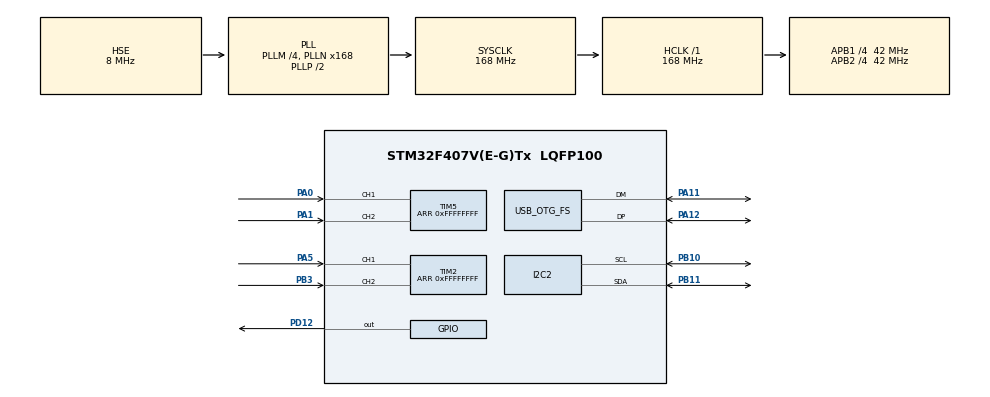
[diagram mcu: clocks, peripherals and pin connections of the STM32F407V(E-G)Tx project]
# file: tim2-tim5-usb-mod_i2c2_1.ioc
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I2C2.NoStretchMode=I2C_NOSTRETCH_ENABLE
I2C2.OwnAddress=0x4d
Mcu.Family=STM32F4
Mcu.Name=STM32F407V(E-G)Tx
Mcu.Package=LQFP100
NVIC.I2C2_ER_IRQn=true\:0\:0\:false\:false\:true\:true\:true
NVIC.I2C2_EV_IRQn=true\:0\:0\:false\:false\:true\:true\:true
NVIC.OTG_FS_IRQn=true\:0\:0\:false\:false\:true\:false\:true
NVIC.PriorityGroup=NVIC_PRIORITYGROUP_4
NVIC.TIM1_UP_TIM10_IRQn=true\:0\:0\:false\:false\:true\:true\:true
NVIC.TIM8_UP_TIM13_IRQn=true\:0\:0\:false\:false\:true\:true\:true
PA0-WKUP.GPIO_PuPd=GPIO_PULLUP
PA0-WKUP.GPIO_Speed=GPIO_SPEED_FREQ_VERY_HIGH
PA0-WKUP.Signal=S_TIM5_CH1
PA1.GPIO_PuPd=GPIO_PULLUP
PA1.GPIO_Speed=GPIO_SPEED_FREQ_VERY_HIGH
PA1.Signal=S_TIM5_CH2
PA11.Mode=Device_Only
PA11.Signal=USB_OTG_FS_DM
PA12.Mode=Device_Only
PA12.Signal=USB_OTG_FS_DP
PA5.GPIO_PuPd=GPIO_PULLUP
PA5.GPIO_Speed=GPIO_SPEED_FREQ_VERY_HIGH
PA5.Signal=S_TIM2_CH1_ETR
PB10.GPIO_Speed=GPIO_SPEED_FREQ_MEDIUM
PB10.Mode=I2C
PB10.Signal=I2C2_SCL
PB11.GPIO_Speed=GPIO_SPEED_FREQ_MEDIUM
PB11.Mode=I2C
PB11.Signal=I2C2_SDA
PB3.GPIO_PuPd=GPIO_PULLUP
PB3.GPIO_Speed=GPIO_SPEED_FREQ_VERY_HIGH
PB3.Signal=S_TIM2_CH2
PD12.Signal=GPIO_Output
PH0-OSC_IN.Mode=HSE-External-Oscillator
PH0-OSC_IN.Signal=RCC_OSC_IN
PH1-OSC_OUT.Mode=HSE-External-Oscillator
PH1-OSC_OUT.Signal=RCC_OSC_OUT
ProjectManager.HeapSize=0x200
ProjectManager.StackSize=0x400
ProjectManager.TargetToolchain=SW4STM32
RCC.48MHZClocksFreq_Value=48000000
RCC.AHBFreq_Value=168000000
RCC.APB1CLKDivider=RCC_HCLK_DIV4
RCC.APB1Freq_Value=42000000
RCC.APB1TimFreq_Value=84000000
RCC.APB2CLKDivider=RCC_HCLK_DIV4
RCC.APB2Freq_Value=42000000
RCC.APB2TimFreq_Value=84000000
RCC.CortexFreq_Value=168000000
RCC.HCLKFreq_Value=168000000
RCC.HSE_VALUE=8000000
RCC.HSI_VALUE=16000000
RCC.LSE_VALUE=32768
RCC.PLLM=4
RCC.PLLN=168
RCC.PLLQ=7
RCC.SYSCLKFreq_VALUE=168000000
RCC.SYSCLKSource=RCC_SYSCLKSOURCE_PLLCLK
RCC.VCOOutputFreq_Value=336000000
SH.S_TIM2_CH1_ETR.0=TIM2_CH1,Input_Capture1_from_TI1
SH.S_TIM2_CH2.0=TIM2_CH2,TriggerSource_TI2FP2
SH.S_TIM5_CH1.0=TIM5_CH1,TriggerSource_TI1FP1
SH.S_TIM5_CH2.0=TIM5_CH2,Input_Capture2_from_TI2
TIM1.Period=10000
TIM1.Prescaler=1679
TIM2.AutoReloadPreload=TIM_AUTORELOAD_PRELOAD_ENABLE
TIM2.Channel-Input_Capture1_from_TI1=TIM_CHANNEL_1
TIM2.Period=0xFFFFFFFF
TIM5.AutoReloadPreload=TIM_AUTORELOAD_PRELOAD_ENABLE
TIM5.Channel-Input_Capture2_from_TI2=TIM_CHANNEL_2
TIM5.Period=0xFFFFFFFF
TIM8.Prescaler=1679
USB_DEVICE.CLASS_NAME_FS=CDC
USB_DEVICE.VirtualMode-CDC_FS=Cdc
USB_DEVICE.VirtualModeFS=Cdc_FS
USB_OTG_FS.VirtualMode=Device_Only
VP_TIM1_VS_ClockSourceINT.Mode=Internal
VP_TIM2_VS_ControllerModeClock.Mode=Clock Mode
VP_TIM5_VS_ControllerModeClock.Mode=Clock Mode
VP_TIM8_VS_ClockSourceINT.Mode=Internal
VP_USB_DEVICE_VS_USB_DEVICE_CDC_FS.Mode=CDC_FS
board=custom

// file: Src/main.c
/* USER CODE BEGIN Header */
/**
  ******************************************************************************
  * @file           : main.c
  * @brief          : Main program body
  ******************************************************************************
  * @attention
  *
  * <h2><center>&copy; Copyright (c) 2019 STMicroelectronics.
  * All rights reserved.</center></h2>
  *
  * This software component is licensed by ST under Ultimate Liberty license
  * SLA0044, the "License"; You may not use this file except in compliance with
  * the License. You may obtain a copy of the License at:
  *                             www.st.com/SLA0044
  *
  ******************************************************************************
  */
/* USER CODE END Header */

#include "main.h"
#include "usb_device.h"

/* USER CODE BEGIN Includes */
#include "usbd_cdc_if.h"
/* USER CODE END Includes */

/* USER CODE BEGIN PD */
#define I2C2_ADDRESS		0x14
/* USER CODE END PD */

I2C_HandleTypeDef hi2c2;

TIM_HandleTypeDef htim1;
TIM_HandleTypeDef htim2;
TIM_HandleTypeDef htim5;
TIM_HandleTypeDef htim8;

/* USER CODE BEGIN PV */
char RawFreq[80];
char TIM2CNTBUF[80];
volatile unsigned int i2c_ram[8];
//volatile unsigned int i2c_ram[8]={0x00,0x00,0x00,0x0f,0x00,0x00,0x00,0x0a};
unsigned int test_register[40];
uint8_t I2C_data_buff_RX[1];
uint16_t I2C_buff_size;
uint8_t I2C_data_buff_TX[1];

unsigned int freqTIM2Before=0;
 unsigned int freqTIM2After=0;
volatile unsigned int freqTIM2PerSecond=0;

 unsigned int freqTIM5Before=0;
 unsigned int freqTIM5After=0;
volatile unsigned int freqTIM5PerSecond=0;

 unsigned int GENcount=0;
 unsigned int x=0, x1=0, x2=0, x3=0, x4=0;
 unsigned int y=0,  y2=0, y3=0, y4=0;
 unsigned int y1=0;
/* USER CODE END PV */

void SystemClock_Config(void);
static void MX_GPIO_Init(void);
static void MX_TIM2_Init(void);
static void MX_TIM5_Init(void);
static void MX_I2C2_Init(void);
static void MX_TIM1_Init(void);
static void MX_TIM8_Init(void);
/* USER CODE BEGIN 0 */
void HAL_TIM_PeriodElapsedCallback(TIM_HandleTypeDef *htim)
{

        if(htim->Instance == TIM1) //check if the interrupt comes from TIM1
        {
        	freqTIM2After=TIM2->CNT;
        			freqTIM2PerSecond=freqTIM2After-freqTIM2Before;
        			freqTIM2PerSecond-=freqTIM2PerSecond*0.00095;
        			freqTIM5After=TIM5->CNT;
        		    freqTIM5PerSecond=freqTIM5After-freqTIM5Before;
        		    freqTIM5PerSecond-=freqTIM5PerSecond*0.00095;

        		/*    x=TIM2->CNT;//freqTIM2PerSecond;
        		 	    x4 = x&0x000000FF;
        		 	    x3 = (x&0x0000FF00) >> 8;
        		 	    x2 = (x&0x00FF0000) >> 16;
        		 	    x1 = (x&0xFF000000) >> 24;

        		 	    y=TIM5->CNT;//freqTIM5PerSecond;
        		 	   	y4 = y&0x000000FF;
        		 	   	y3 = (y&0x0000FF00) >> 8;
        		 	   	y2 = (y&0x00FF0000) >> 16;
        		 	   	y1 = (y&0xFF000000) >> 24;

        		 	   	i2c_ram[0]=x1;
        		 	    i2c_ram[1]=x2;
        		 	   	i2c_ram[2]=x3;
        		 	   	i2c_ram[3]=x4;
        		 	   	i2c_ram[4]=y1;
        		 	   	i2c_ram[5]=y2;
        		 	   	i2c_ram[6]=y3;
        		 	   	i2c_ram[7]=y4;*/
        		 	   sprintf(RawFreq, "%u \t %u \t %u \r\n", GENcount, freqTIM2PerSecond, freqTIM5PerSecond);
        		 	   CDC_Transmit_FS((uint8_t *)RawFreq, 80);
        		 	    freqTIM2Before=freqTIM2After;
        		 	 	freqTIM5Before=freqTIM5After;
        		 	 	GENcount++; if(GENcount > 4000000000){GENcount = 0;}
        }
}
/* USER CODE END 0 */

int main(void)
{

  /* MCU Configuration--------------------------------------------------------*/

  /* Reset of all peripherals, Initializes the Flash interface and the Systick. */
  HAL_Init();

  /* Configure the system clock */
  SystemClock_Config();

  /* Initialize all configured peripherals */
  MX_GPIO_Init();
  MX_TIM2_Init();
  MX_TIM5_Init();
  MX_USB_DEVICE_Init();
  MX_I2C2_Init();
  MX_TIM1_Init();
  MX_TIM8_Init();
  /* USER CODE BEGIN 2 */
  TIM2->CR1     |= TIM_CR1_CEN;//1: Counter enabled
  TIM2->EGR |= TIM_EGR_UG;

  TIM5->CR1     |= TIM_CR1_CEN;//1: Counter enabled
  TIM5->EGR |= TIM_EGR_UG;

  TIM8->CR1     |= TIM_CR1_CEN;//1: Counter enabled
  TIM8->EGR |= TIM_EGR_UG;

  TIM1->CR1		|= TIM_CR1_CEN;
  TIM1->EGR |= TIM_EGR_UG;

  I2C2->CR2     |= I2C_CR2_FREQ_3; //0b01000: 8 MHz Peripheral Clock Frequency == 8 MHz!
  /*I2C2->CCR     |= 0x28;           // clock control register (270kHz)?!
  I2C2->TRISE   |= 0x09;          // rise time register*/
  I2C2->CR1 	|= I2C_CR1_PE;     //1:  Peripheral enable

  HAL_TIM_Base_Start_IT(&htim1);

  /* USER CODE END 2 */

  /* Infinite loop */
  /* USER CODE BEGIN WHILE */

//  I2C2_EV_IRQHandler();

  while (1)
  {
	  	  	x=freqTIM2PerSecond;
	 	    x4 = x&0x000000FF;
	 	    x3 = (x&0x0000FF00) >> 8;
	 	    x2 = (x&0x00FF0000) >> 16;
	 	    x1 = (x&0xFF000000) >> 24;

	 	    y=freqTIM5PerSecond;
	 	   	y4 = y&0x000000FF;
	 	   	y3 = (y&0x0000FF00) >> 8;
	 	   	y2 = (y&0x00FF0000) >> 16;
	 	   	y1 = (y&0xFF000000) >> 24;

	 	   	i2c_ram[0]=x1;
	 	    i2c_ram[1]=x2;
	 	   	i2c_ram[2]=x3;
	 	   	i2c_ram[3]=x4;
	 	   	i2c_ram[4]=y1;
	 	   	i2c_ram[5]=y2;
	 	   	i2c_ram[6]=y3;
	 	   	i2c_ram[7]=y4;
		/*freqTIM2After=TIM2->CNT;
		freqTIM2PerSecond=freqTIM2After-freqTIM2Before;
		freqTIM2PerSecond-=freqTIM2PerSecond*0.00095;
		freqTIM5After=TIM5->CNT;
	    freqTIM5PerSecond=freqTIM5After-freqTIM5Before;
	    freqTIM5PerSecond-=freqTIM5PerSecond*0.00095;*/

	    I2C2->CR1		|=I2C_CR1_ACK; //A
	  //  if(!(I2C2->SR1 & I2C_SR1_ADDR)){
	    while (!(I2C2->SR1 & I2C_SR1_ADDR)){}; //ev1
	    I2C2->SR1;
	    I2C2->SR2;
	    while (!(I2C2->SR1 & I2C_SR1_TXE)){}; //ev3-1 */

	   	/*while((I2C2->SR1 & I2C_SR1_ADDR) == I2C_SR1_ADDR){
	      I2C2->SR1;
	      I2C2->SR2;
	    }*/

	  /* I2C2->DR = x1; //data1
	   while (!(I2C2->SR1 & I2C_SR1_TXE)){}; //ev3
	   I2C2->CR1		|=I2C_CR1_ACK;
	   I2C2->DR = x2; //data2
	   while (!(I2C2->SR1 & I2C_SR1_TXE)){};  //ev3
	   I2C2->CR1		|=I2C_CR1_ACK;
	   I2C2->DR = x3; //data3
	   while (!(I2C2->SR1 & I2C_SR1_TXE)){};  //ev3
	   I2C2->CR1		|=I2C_CR1_ACK;
	   I2C2->DR = x4; //data4
	   while (!(I2C2->SR1 & I2C_SR1_TXE)){};  //ev3
	   I2C2->CR1		|=I2C_CR1_ACK;
	   I2C2->DR = y1; //data5
	   while (!(I2C2->SR1 & I2C_SR1_TXE)){};  //ev3
	   I2C2->CR1		|=I2C_CR1_ACK;
	   I2C2->DR = y2; //data6
	   while (!(I2C2->SR1 & I2C_SR1_TXE)){};  //ev3
	   I2C2->CR1		|=I2C_CR1_ACK;
	   I2C2->DR = y3; //data7
	   while (!(I2C2->SR1 & I2C_SR1_TXE)){};  //ev3
	   I2C2->CR1		|=I2C_CR1_ACK;
	   I2C2->DR = y4; //data8
	   while (!(I2C2->SR1 & I2C_SR1_TXE)){};  //ev3 */
	    I2C2->DR = i2c_ram[0]; //data1
	      	   while (!(I2C2->SR1 & I2C_SR1_TXE)){}; //ev3
	      	  // while (!(I2C2->SR1 & I2C_SR1_BTF)){};
	      	 //  I2C2->CR1		|=I2C_CR1_ACK;
	      	   I2C2->DR = i2c_ram[1]; //data2
	      	   while (!(I2C2->SR1 & I2C_SR1_TXE)){};  //ev3
	      	  // while (!(I2C2->SR1 & I2C_SR1_BTF)){};
	      	//   I2C2->CR1		|=I2C_CR1_ACK;
	      	   I2C2->DR = i2c_ram[2]; //data3
	      	   while (!(I2C2->SR1 & I2C_SR1_TXE)){};  //ev3
	      	  // while (!(I2C2->SR1 & I2C_SR1_BTF)){};
	      	//   I2C2->CR1		|=I2C_CR1_ACK;
	      	   I2C2->DR = i2c_ram[3]; //data4
	      	   while (!(I2C2->SR1 & I2C_SR1_TXE)){};  //ev3
	      	//   while (!(I2C2->SR1 & I2C_SR1_BTF)){};
	      	   //   I2C2->CR1		|=I2C_CR1_ACK;

	      	   I2C2->DR = i2c_ram[4]; //data5
	      	  while (!(I2C2->SR1 & I2C_SR1_TXE)){};  //ev3
	      	//   I2C2->CR1		|=I2C_CR1_ACK;
	      	   I2C2->DR = i2c_ram[5]; //data6
	      	   while (!(I2C2->SR1 & I2C_SR1_TXE)){};  //ev3
	      	//   I2C2->CR1		|=I2C_CR1_ACK;
	      	   I2C2->DR = i2c_ram[6]; //data7
	      	   while (!(I2C2->SR1 & I2C_SR1_TXE)){};  //ev3
	      	//   I2C2->CR1		|=I2C_CR1_ACK;
	      	   I2C2->DR = i2c_ram[7]; //data8
	      	   while (!(I2C2->SR1 & I2C_SR1_TXE)){};  //ev3
	      	   HAL_Delay(1);
	//    }
	 //   else{}
//	    sprintf(TIM2CNTBUF, "%u \t \%x \t %u  \t %u  \t %u  \t %u  \t %u  \t %u \r\n", GENcount, (unsigned int)I2C2->OAR1,(unsigned int)(y1), (unsigned int)(y2), (unsigned int)(y3), (unsigned int)(y4),  (unsigned int)(y5), (unsigned int)TIM2->CNT);
	 /*  sprintf(RawFreq, "%u \t %u \t %u \r\n", GENcount, freqTIM2PerSecond, freqTIM5PerSecond);
	   CDC_Transmit_FS((uint8_t *)RawFreq, 80);
	   freqTIM2Before=freqTIM2After;
	   freqTIM5Before=freqTIM5After;

	   HAL_Delay(1000);
	   GENcount++;*/

    /* USER CODE END WHILE */

  }
}

void I2C_Transmit_Handler(unsigned int i2c_ram[8]){
	//if(hi2c2.State == HAL_I2C_STATE_READY){
		//	if(!(I2C2->SR1 & I2C_SR1_ADDR)){
	  I2C2->CR1		|=I2C_CR1_ACK; //A

	//  if(hi2c2.State == HAL_I2C_STATE_BUSY_TX_LISTEN){
		 // while(!(I2C2->SR1 & I2C_SR1_ADDR)){}
	  if(hi2c2.State == HAL_I2C_STATE_READY){

	//  I2C2->CR1		|=I2C_CR1_ACK; //A
	  while (!(I2C2->SR1 & I2C_SR1_ADDR)){}; //ev1

	  I2C2->SR1;
	  I2C2->SR2;
	  I2C2->CR1		|=I2C_CR1_ACK; //A
	  while (!(I2C2->SR1 & I2C_SR1_TXE)){}; //ev2
		//}

	  	   I2C2->DR = i2c_ram[0]; //data1
	  	   while (!(I2C2->SR1 & I2C_SR1_TXE)){}; //ev3
	  	  // while (!(I2C2->SR1 & I2C_SR1_BTF)){};
	  	 //  I2C2->CR1		|=I2C_CR1_ACK;
	  	   I2C2->DR = i2c_ram[1]; //data2
	  	   while (!(I2C2->SR1 & I2C_SR1_TXE)){};  //ev3
	  	  // while (!(I2C2->SR1 & I2C_SR1_BTF)){};
	  	//   I2C2->CR1		|=I2C_CR1_ACK;
	  	   I2C2->DR = i2c_ram[2]; //data3
	  	   while (!(I2C2->SR1 & I2C_SR1_TXE)){};  //ev3
	  	  // while (!(I2C2->SR1 & I2C_SR1_BTF)){};
	  	//   I2C2->CR1		|=I2C_CR1_ACK;
	  	   I2C2->DR = i2c_ram[3]; //data4
	  	   while (!(I2C2->SR1 & I2C_SR1_TXE)){};  //ev3
	  	//   while (!(I2C2->SR1 & I2C_SR1_BTF)){};

	  	   //   I2C2->CR1		|=I2C_CR1_ACK;
	  	   I2C2->DR = i2c_ram[4]; //data5
	  	  while (!(I2C2->SR1 & I2C_SR1_TXE)){};  //ev3
	  	//   I2C2->CR1		|=I2C_CR1_ACK;
	  	   I2C2->DR = i2c_ram[5]; //data6
	  	   while (!(I2C2->SR1 & I2C_SR1_TXE)){};  //ev3
	  	//   I2C2->CR1		|=I2C_CR1_ACK;
	  	   I2C2->DR = i2c_ram[6]; //data7
	  	   while (!(I2C2->SR1 & I2C_SR1_TXE)){};  //ev3
	  	//   I2C2->CR1		|=I2C_CR1_ACK;
	  	   I2C2->DR = i2c_ram[7]; //data8
	  	   while (!(I2C2->SR1 & I2C_SR1_TXE)){};  //ev3
	  	 I2C1 -> CR1 |= I2C_CR1_STOP;
	  }
		//}
			else {}
}

void SystemClock_Config(void)
{
  RCC_OscInitTypeDef RCC_OscInitStruct = {0};
  RCC_ClkInitTypeDef RCC_ClkInitStruct = {0};

  /** Configure the main internal regulator output voltage
  */
  __HAL_RCC_PWR_CLK_ENABLE();
  __HAL_PWR_VOLTAGESCALING_CONFIG(PWR_REGULATOR_VOLTAGE_SCALE1);
  /** Initializes the CPU, AHB and APB busses clocks
  */
  RCC_OscInitStruct.OscillatorType = RCC_OSCILLATORTYPE_HSE;
  RCC_OscInitStruct.HSEState = RCC_HSE_ON;
  RCC_OscInitStruct.PLL.PLLState = RCC_PLL_ON;
  RCC_OscInitStruct.PLL.PLLSource = RCC_PLLSOURCE_HSE;
  RCC_OscInitStruct.PLL.PLLM = 4;
  RCC_OscInitStruct.PLL.PLLN = 168;
  RCC_OscInitStruct.PLL.PLLP = RCC_PLLP_DIV2;
  RCC_OscInitStruct.PLL.PLLQ = 7;
  if (HAL_RCC_OscConfig(&RCC_OscInitStruct) != HAL_OK)
  {
    Error_Handler();
  }
  /** Initializes the CPU, AHB and APB busses clocks
  */
  RCC_ClkInitStruct.ClockType = RCC_CLOCKTYPE_HCLK|RCC_CLOCKTYPE_SYSCLK
                              |RCC_CLOCKTYPE_PCLK1|RCC_CLOCKTYPE_PCLK2;
  RCC_ClkInitStruct.SYSCLKSource = RCC_SYSCLKSOURCE_PLLCLK;
  RCC_ClkInitStruct.AHBCLKDivider = RCC_SYSCLK_DIV1;
  RCC_ClkInitStruct.APB1CLKDivider = RCC_HCLK_DIV4;
  RCC_ClkInitStruct.APB2CLKDivider = RCC_HCLK_DIV4;

  if (HAL_RCC_ClockConfig(&RCC_ClkInitStruct, FLASH_LATENCY_5) != HAL_OK)
  {
    Error_Handler();
  }
}

static void MX_I2C2_Init(void)
{

  hi2c2.Instance = I2C2;
  hi2c2.Init.ClockSpeed = 100000;
  hi2c2.Init.DutyCycle = I2C_DUTYCYCLE_2;
  hi2c2.Init.OwnAddress1 = 134;
  hi2c2.Init.AddressingMode = I2C_ADDRESSINGMODE_7BIT;
  hi2c2.Init.DualAddressMode = I2C_DUALADDRESS_DISABLE;
  hi2c2.Init.OwnAddress2 = 0;
  hi2c2.Init.GeneralCallMode = I2C_GENERALCALL_DISABLE;
  hi2c2.Init.NoStretchMode = I2C_NOSTRETCH_ENABLE; //I2C_NOSTRETCH_ENABLE;
  if (HAL_I2C_Init(&hi2c2) != HAL_OK)
  {
    Error_Handler();
  }

}

static void MX_TIM1_Init(void)
{

  TIM_ClockConfigTypeDef sClockSourceConfig = {0};
  TIM_MasterConfigTypeDef sMasterConfig = {0};

  htim1.Instance = TIM1;
  htim1.Init.Prescaler = 8399;
  htim1.Init.CounterMode = TIM_COUNTERMODE_UP;
  htim1.Init.Period = 10000;
  htim1.Init.ClockDivision = TIM_CLOCKDIVISION_DIV1;
  htim1.Init.RepetitionCounter = 0;
  htim1.Init.AutoReloadPreload = TIM_AUTORELOAD_PRELOAD_ENABLE;
  if (HAL_TIM_Base_Init(&htim1) != HAL_OK)
  {
    Error_Handler();
  }
  sClockSourceConfig.ClockSource = TIM_CLOCKSOURCE_INTERNAL;
  if (HAL_TIM_ConfigClockSource(&htim1, &sClockSourceConfig) != HAL_OK)
  {
    Error_Handler();
  }
  sMasterConfig.MasterOutputTrigger = TIM_TRGO_RESET;
  sMasterConfig.MasterSlaveMode = TIM_MASTERSLAVEMODE_DISABLE;
  if (HAL_TIMEx_MasterConfigSynchronization(&htim1, &sMasterConfig) != HAL_OK)
  {
    Error_Handler();
  }

}

static void MX_TIM2_Init(void)
{

  TIM_SlaveConfigTypeDef sSlaveConfig = {0};
  TIM_MasterConfigTypeDef sMasterConfig = {0};
  TIM_IC_InitTypeDef sConfigIC = {0};

  htim2.Instance = TIM2;
  htim2.Init.Prescaler = 0;
  htim2.Init.CounterMode = TIM_COUNTERMODE_UP;
  htim2.Init.Period = 0xFFFFFFFF;
  htim2.Init.ClockDivision = TIM_CLOCKDIVISION_DIV1;
  htim2.Init.AutoReloadPreload = TIM_AUTORELOAD_PRELOAD_ENABLE;
  if (HAL_TIM_Base_Init(&htim2) != HAL_OK)
  {
    Error_Handler();
  }
  if (HAL_TIM_IC_Init(&htim2) != HAL_OK)
  {
    Error_Handler();
  }
  sSlaveConfig.SlaveMode = TIM_SLAVEMODE_EXTERNAL1;
  sSlaveConfig.InputTrigger = TIM_TS_TI2FP2;
  sSlaveConfig.TriggerPolarity = TIM_TRIGGERPOLARITY_RISING;
  sSlaveConfig.TriggerFilter = 0;
  if (HAL_TIM_SlaveConfigSynchro(&htim2, &sSlaveConfig) != HAL_OK)
  {
    Error_Handler();
  }
  sMasterConfig.MasterOutputTrigger = TIM_TRGO_RESET;
  sMasterConfig.MasterSlaveMode = TIM_MASTERSLAVEMODE_DISABLE;
  if (HAL_TIMEx_MasterConfigSynchronization(&htim2, &sMasterConfig) != HAL_OK)
  {
    Error_Handler();
  }
  sConfigIC.ICPolarity = TIM_INPUTCHANNELPOLARITY_RISING;
  sConfigIC.ICSelection = TIM_ICSELECTION_DIRECTTI;
  sConfigIC.ICPrescaler = TIM_ICPSC_DIV1;
  sConfigIC.ICFilter = 0;
  if (HAL_TIM_IC_ConfigChannel(&htim2, &sConfigIC, TIM_CHANNEL_1) != HAL_OK)
  {
    Error_Handler();
  }

}

static void MX_TIM5_Init(void)
{

  TIM_SlaveConfigTypeDef sSlaveConfig = {0};
  TIM_MasterConfigTypeDef sMasterConfig = {0};
  TIM_IC_InitTypeDef sConfigIC = {0};

  htim5.Instance = TIM5;
  htim5.Init.Prescaler = 0;
  htim5.Init.CounterMode = TIM_COUNTERMODE_UP;
  htim5.Init.Period = 0xFFFFFFFF;
  htim5.Init.ClockDivision = TIM_CLOCKDIVISION_DIV1;
  htim5.Init.AutoReloadPreload = TIM_AUTORELOAD_PRELOAD_ENABLE;
  if (HAL_TIM_Base_Init(&htim5) != HAL_OK)
  {
    Error_Handler();
  }
  if (HAL_TIM_IC_Init(&htim5) != HAL_OK)
  {
    Error_Handler();
  }
  sSlaveConfig.SlaveMode = TIM_SLAVEMODE_EXTERNAL1;
  sSlaveConfig.InputTrigger = TIM_TS_TI1FP1;
  sSlaveConfig.TriggerPolarity = TIM_TRIGGERPOLARITY_RISING;
  sSlaveConfig.TriggerFilter = 0;
  if (HAL_TIM_SlaveConfigSynchro(&htim5, &sSlaveConfig) != HAL_OK)
  {
    Error_Handler();
  }
  sMasterConfig.MasterOutputTrigger = TIM_TRGO_RESET;
  sMasterConfig.MasterSlaveMode = TIM_MASTERSLAVEMODE_DISABLE;
  if (HAL_TIMEx_MasterConfigSynchronization(&htim5, &sMasterConfig) != HAL_OK)
  {
    Error_Handler();
  }
  sConfigIC.ICPolarity = TIM_INPUTCHANNELPOLARITY_RISING;
  sConfigIC.ICSelection = TIM_ICSELECTION_DIRECTTI;
  sConfigIC.ICPrescaler = TIM_ICPSC_DIV1;
  sConfigIC.ICFilter = 0;
  if (HAL_TIM_IC_ConfigChannel(&htim5, &sConfigIC, TIM_CHANNEL_2) != HAL_OK)
  {
    Error_Handler();
  }

}

static void MX_TIM8_Init(void)
{

  TIM_ClockConfigTypeDef sClockSourceConfig = {0};
  TIM_MasterConfigTypeDef sMasterConfig = {0};

  /* USER CODE BEGIN TIM8_Init 1 */
  HAL_GPIO_TogglePin(GPIOD, GPIO_PIN_12);
  /* USER CODE END TIM8_Init 1 */
  htim8.Instance = TIM8;
  htim8.Init.Prescaler = 839;
  htim8.Init.CounterMode = TIM_COUNTERMODE_UP;
  htim8.Init.Period = 50000;
  htim8.Init.ClockDivision = TIM_CLOCKDIVISION_DIV1;
  htim8.Init.RepetitionCounter = 0;
  htim8.Init.AutoReloadPreload = TIM_AUTORELOAD_PRELOAD_DISABLE;
  if (HAL_TIM_Base_Init(&htim8) != HAL_OK)
  {
    Error_Handler();
  }
  sClockSourceConfig.ClockSource = TIM_CLOCKSOURCE_INTERNAL;
  if (HAL_TIM_ConfigClockSource(&htim8, &sClockSourceConfig) != HAL_OK)
  {
    Error_Handler();
  }
  sMasterConfig.MasterOutputTrigger = TIM_TRGO_RESET;
  sMasterConfig.MasterSlaveMode = TIM_MASTERSLAVEMODE_DISABLE;
  if (HAL_TIMEx_MasterConfigSynchronization(&htim8, &sMasterConfig) != HAL_OK)
  {
    Error_Handler();
  }

}

static void MX_GPIO_Init(void)
{
  GPIO_InitTypeDef GPIO_InitStruct = {0};

  /* GPIO Ports Clock Enable */
  __HAL_RCC_GPIOH_CLK_ENABLE();
  __HAL_RCC_GPIOA_CLK_ENABLE();
  __HAL_RCC_GPIOB_CLK_ENABLE();
  __HAL_RCC_GPIOD_CLK_ENABLE();

  /*Configure GPIO pin Output Level */
  HAL_GPIO_WritePin(GPIOD, GPIO_PIN_12, GPIO_PIN_RESET);

  /*Configure GPIO pin : PD12 */
  GPIO_InitStruct.Pin = GPIO_PIN_12;
  GPIO_InitStruct.Mode = GPIO_MODE_OUTPUT_PP;
  GPIO_InitStruct.Pull = GPIO_NOPULL;
  GPIO_InitStruct.Speed = GPIO_SPEED_FREQ_LOW;
  HAL_GPIO_Init(GPIOD, &GPIO_InitStruct);

  /*Configure GPIO pins : PB10 PB11 */
   GPIO_InitStruct.Pin = GPIO_PIN_10|GPIO_PIN_11;
   GPIO_InitStruct.Mode = GPIO_MODE_AF_OD;
   GPIO_InitStruct.Pull = GPIO_PULLUP;
   GPIO_InitStruct.Speed = GPIO_SPEED_FREQ_VERY_HIGH;
   GPIO_InitStruct.Alternate = GPIO_AF4_I2C2;
   HAL_GPIO_Init(GPIOB, &GPIO_InitStruct);

}

void Error_Handler(void)
{
}

/************************ (C) COPYRIGHT STMicroelectronics *****END OF FILE****/
